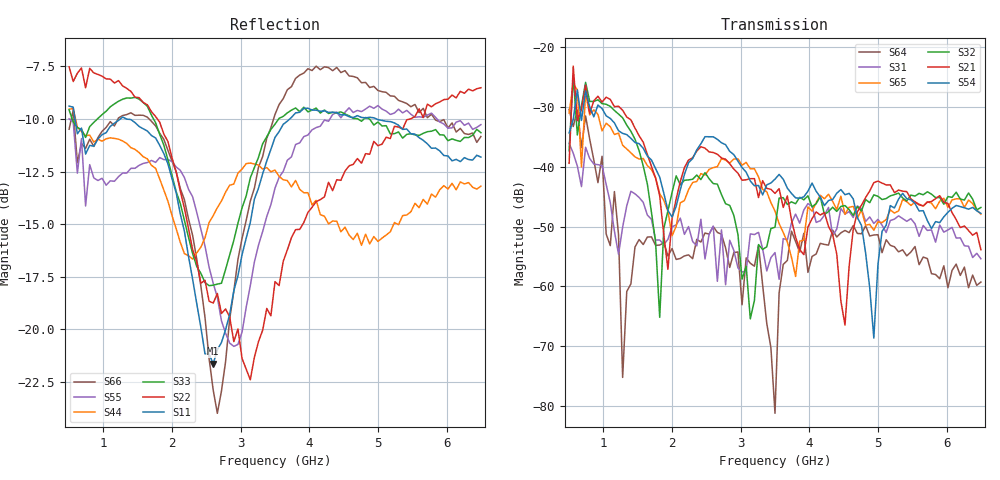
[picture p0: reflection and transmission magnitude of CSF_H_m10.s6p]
!Keysight Technologies,M9804A,MY58100912,A.14.10.03
!Date: Thursday, April 27, 2023 10:28:33
!Correction: S11(C  6-Port  )
!S12(C  6-Port  )
!S13(C  6-Port  )
!S14(C  6-Port  )
!S15(C  6-Port  )
!S16(C  6-Port  )
!S21(C  6-Port  )
!S22(C  6-Port  )
!S23(C  6-Port  )
!S24(C  6-Port  )
!S25(C  6-Port  )
!S26(C  6-Port  )
!S31(C  6-Port  )
!S32(C  6-Port  )
!S33(C  6-Port  )
!S34(C  6-Port  )
!S35(C  6-Port  )
!S36(C  6-Port  )
!S41(C  6-Port  )
!S42(C  6-Port  )
!S43(C  6-Port  )
!S44(C  6-Port  )
!S45(C  6-Port  )
!S46(C  6-Port  )
!S51(C  6-Port  )
!S52(C  6-Port  )
!S53(C  6-Port  )
!S54(C  6-Port  )
!S55(C  6-Port  )
!S56(C  6-Port  )
!S61(C  6-Port  )
!S62(C  6-Port  )
!S63(C  6-Port  )
!S64(C  6-Port  )
!S65(C  6-Port  )
!S66(C  6-Port  )
!S6P File: Measurement: :
# Hz S  RI  R 50
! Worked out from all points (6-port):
!   101 points, 500 MHz to 6.5 GHz, reference 50 ohm
!   strongest paths, dB at 500 MHz, 2 GHz, 3.5 GHz, 5 GHz, 6.5 GHz:
!     S54: -34.3, -48.4, -42.1, -56.4, -47.8
!     S21: -39.4, -48.7, -44.5, -42.4, -53.9
!     S32: -37.3, -44.3, -50.1, -44.9, -46.8
!     S65: -31.0, -51.5, -47.4, -49.2, -47.9
!     S31: -36.1, -50.0, -54.4, -48.8, -55.4
!     S64: -30.4, -53.7, -81.3, -51.4, -59.3
!   lowest |S11| = -21.6 dB at 2.6 GHz (marker M1), VSWR 1.18, Z = 42.6 + j2.04 ohm
!   |S11| at or under -10 dB: 586.4 MHz to 1.246 GHz (660 MHz wide, 72 % of centre); 1.334 GHz to 3.716 GHz (2.382 GHz wide, 94.3 % of centre); 4.976 GHz to end of sweep
